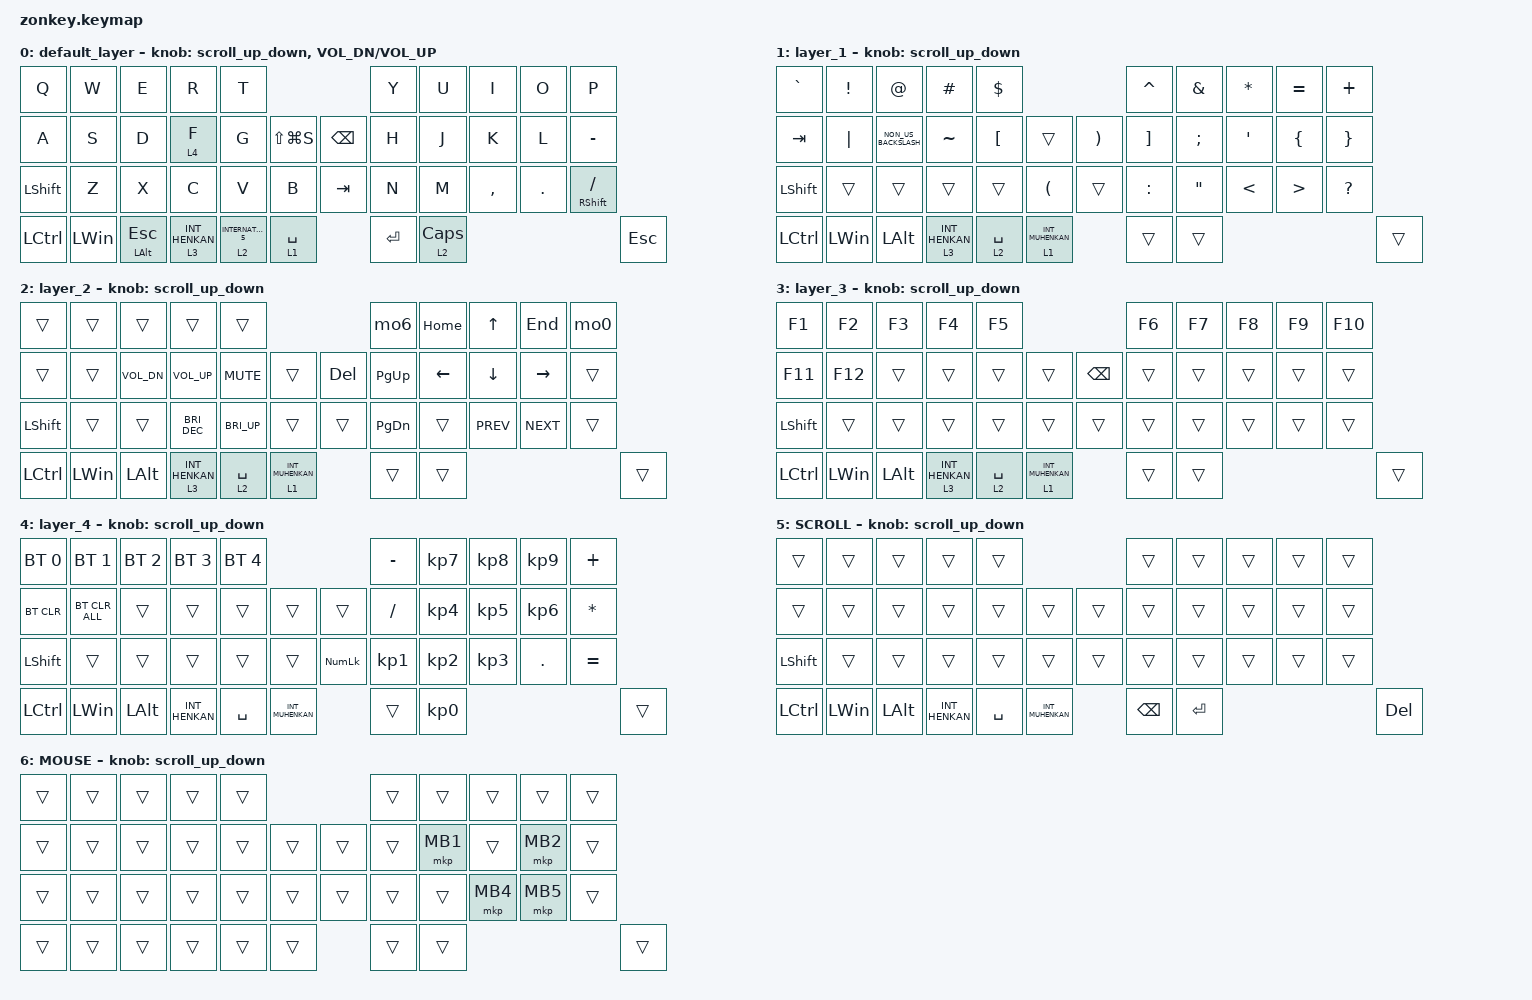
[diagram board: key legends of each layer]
#include <behaviors.dtsi>
#include <dt-bindings/zmk/bt.h>
#include <dt-bindings/zmk/keys.h>
#include <dt-bindings/zmk/pointing.h>

#define ZMK_POINTING_DEFAULT_SCRL_VAL 100
#define MOUSE 6
#define JP_DQUOTE       AT                // "
#define JP_AMPERSAND    CARET             // &
#define JP_QUOTE        AMPERSAND         // '
#define JP_EQUAL        UNDER             // =
#define JP_CARET        EQUAL             // ^
#define JP_YEN          0x89              // ¥
#define JP_PLUS         COLON             // +
#define JP_TILDE        PLUS              // ~
#define JP_PIPE         LS(0x89)          // |
#define JP_AT           LEFT_BRACKET      // @
#define JP_COLON        SINGLE_QUOTE      // :
#define JP_ASTERISK     DOUBLE_QUOTES     // *
#define JP_BACKQUOTE    LEFT_BRACE        // `
#define JP_UNDERSCORE   LS(0x87)          // _
#define JP_LBRACKET     RIGHT_BRACKET     // [
#define JP_RBRACKET     BACKSLASH         // ]
#define JP_LPAREN       ASTERISK          // (
#define JP_RPAREN       LEFT_PARENTHESIS  // )
#define JP_LBRACE       RIGHT_BRACE       // {
#define JP_RBRACE       PIPE              // }
#define JP_KANA         LANGUAGE_1        // かな
#define JP_EISU         LANGUAGE_2        // 英数
#define JP_HANZEN       GRAVE             // 半角/全角
#define JP_BSLH  INT1         // (backslash)

&mt {
    flavor = "balanced";
    quick-tap-ms = <0>;
};

/ {
    combos {
        compatible = "zmk,combos";

        ps_ort {
            bindings = <&ps_ort>;
            key-positions = <19 20>;
        };

        ps_No {
            bindings = <&ps_No>;
            key-positions = <31 32>;
        };

        gmail {
            bindings = <&gmai>;
            key-positions = <30 29>;
        };
    };

    mo2: mo2 {
        compatible = "zmk,behavior-mod-morph";
        #binding-cells = <0>;
        bindings = <&kp N2>, <&kp AT>;

        mods = <(MOD_LSFT|MOD_RSFT)>;
    };

    mo6: mo6 {
        compatible = "zmk,behavior-mod-morph";
        #binding-cells = <0>;
        bindings = <&kp N6>, <&kp CARET>;

        mods = <(MOD_LSFT|MOD_RSFT)>;
    };

    mo7: mo7 {
        compatible = "zmk,behavior-mod-morph";
        #binding-cells = <0>;
        bindings = <&kp N7>, <&kp AMPS>;

        mods = <(MOD_LSFT|MOD_RSFT)>;
    };

    mo8: mo8 {
        compatible = "zmk,behavior-mod-morph";
        #binding-cells = <0>;
        bindings = <&kp N8>, <&kp ASTRK>;

        mods = <(MOD_LSFT|MOD_RSFT)>;
    };

    mo9: mo9 {
        compatible = "zmk,behavior-mod-morph";
        #binding-cells = <0>;
        bindings = <&kp N9>, <&kp LPAR>;

        mods = <(MOD_LSFT|MOD_RSFT)>;
    };

    mo0: mo0 {
        compatible = "zmk,behavior-mod-morph";
        #binding-cells = <0>;
        bindings = <&kp N0>, <&kp LS(N9)>;

        mods = <(MOD_LSFT|MOD_RSFT)>;
    };

    moA: moA {
        compatible = "zmk,behavior-mod-morph";
        #binding-cells = <0>;
        bindings = <&kp MINUS>, <&kp UNDERSCORE>;

        mods = <(MOD_LSFT|MOD_RSFT)>;
    };

    moB: moB {
        compatible = "zmk,behavior-mod-morph";
        #binding-cells = <0>;
        bindings = <&kp EQUAL>, <&kp PLUS>;

        mods = <(MOD_LSFT|MOD_RSFT)>;
    };

    moC: moC {
        compatible = "zmk,behavior-mod-morph";
        #binding-cells = <0>;
        bindings = <&kp INT3>, <&kp JP_PIPE>;

        mods = <(MOD_LSFT|MOD_RSFT)>;
    };

    moD: moD {
        compatible = "zmk,behavior-mod-morph";
        #binding-cells = <0>;
        bindings = <&kp LBKT>, <&kp LBRC>;

        mods = <(MOD_LSFT|MOD_RSFT)>;
    };

    moE: moE {
        compatible = "zmk,behavior-mod-morph";
        #binding-cells = <0>;
        bindings = <&kp RBKT>, <&kp RBRC>;

        mods = <(MOD_LSFT|MOD_RSFT)>;
    };

    moF: moF {
        compatible = "zmk,behavior-mod-morph";
        #binding-cells = <0>;
        bindings = <&kp SEMI>, <&kp KP_PLUS>;

        mods = <(MOD_LSFT|MOD_RSFT)>;
    };

    moG: moG {
        compatible = "zmk,behavior-mod-morph";
        #binding-cells = <0>;
        bindings = <&kp APOSTROPHE>, <&kp DQT>;

        mods = <(MOD_LSFT|MOD_RSFT)>;
    };

    moH: moH {
        compatible = "zmk,behavior-mod-morph";
        #binding-cells = <0>;
        bindings = <&kp BACKSLASH>, <&kp TILDE2>;

        mods = <(MOD_LSFT|MOD_RSFT)>;
    };

    moI: moI {
        compatible = "zmk,behavior-mod-morph";
        #binding-cells = <0>;
        bindings = <&kp JP_BSLH>, <&kp JP_UNDERSCORE>;

        mods = <(MOD_LSFT|MOD_RSFT)>;
    };

    macros {
        to_layer_0: to_layer_0 {
            compatible = "zmk,behavior-macro-one-param";
            #binding-cells = <1>;
            bindings = <&to 0 &macro_param_1to1 &kp MACRO_PLACEHOLDER>;
            label = "TO_LAYER_0";
        };

        ps_ort: ps_ort {
            compatible = "zmk,behavior-macro";
            #binding-cells = <0>;
            bindings = <&kp LS(O) &kp R &kp T &kp L &kp I &kp N &kp D &kp E &kp N1>;
            label = "PS_ORT";
        };

        gmai: gmai {
            compatible = "zmk,behavior-macro";
            #binding-cells = <0>;
            bindings = <&kp H &kp I &kp K &kp A &kp R &kp U &kp PERIOD &kp H &kp A &kp R &kp I &kp AT &kp G &kp M &kp A &kp I &kp L &kp PERIOD &kp C &kp O &kp M>;
            label = "GMAI";
        };

        ps_No: ps_No {
            compatible = "zmk,behavior-macro";
            #binding-cells = <0>;
            bindings = <&kp NUMBER_2 &kp NUMBER_4 &kp N8 &kp NUMBER_6 &kp N5 &kp NUMBER_2>;
            label = "PS_NO";
        };
    };

    behaviors {
        lt_to_layer_0: lt_to_layer_0 {
            compatible = "zmk,behavior-hold-tap";
            label = "LAYER_TAP_TO_0";
            bindings = <&mo>, <&to_layer_0>;

            #binding-cells = <2>;
            tapping-term-ms = <200>;
        };

        scroll_up_down: behavior_sensor_rotate_mouse_wheel_up_down {
            compatible = "zmk,behavior-sensor-rotate";
            #sensor-binding-cells = <0>;
            bindings = <&msc SCRL_DOWN>, <&msc SCRL_UP>;

            tap-ms = <20>;
        };
    };

    keymap {
        compatible = "zmk,keymap";

        default_layer {
            // -----------------------------------------------------------------------------------------
            // |  Q  |  W  |  E  |  R  |  T  |                        |  Y  |  U   |  I  |  O  |  P  | 
            // |  A  |  S  |  D  |  F  |  G  |LS(LG(S))|        　 | - |  H  |  J   |  K  |  L  |  `  | 
            // |SHIFT|  Z  |  X  |  C  |  V  |  B  |           | ; |  N  |  M   |  ,  |  .  |  /  | 
            // | CTRL | WIN | ALT |HENKAN|SPACE|MUHENKAN|       | BS | ENT |      　　　　       | DEL |           

            bindings = <
&kp Q           &kp W         &kp E                &kp R             &kp T                                                  &kp Y      &kp U       &kp I      &kp O    &kp P
&kp A           &kp S         &kp D                &lt 4 F           &kp G                  &kp LS(LG(S))    &kp BACKSPACE  &kp H      &kp J       &kp K      &kp L    &kp MINUS
&kp LEFT_SHIFT  &kp Z         &kp X                &kp C             &kp V                  &kp B            &kp TAB        &kp N      &kp M       &kp COMMA  &kp DOT  &mt RIGHT_SHIFT SLASH
&kp LCTRL       &kp LEFT_WIN  &mt LEFT_ALT ESCAPE  &lt 3 INT_HENKAN  &lt 2 INTERNATIONAL_5  &lt 1 SPACE                     &kp ENTER  &lt 2 CAPS                                             &kp ESCAPE
            >;

            sensor-bindings =
                <&scroll_up_down>,
                <&inc_dec_kp C_VOL_DN C_VOL_UP>;
        };

        layer_1 {
            // -----------------------------------------------------------------------------------------
            // | 半角/全角 |CAPS|     |     |     |                     |     |     |  -  |  ^  |  ¥  |
            // | TAB |     |     |     |     |     |              |    |     |     |     |  @  |  [  |
            // |SHIFT|     |     |     |     |     |            | 英数 | かな |     |     |     |  ]  |
            // | CTRL| WIN | ALT |HENKAN|SPACE|MUHENKAN|         | BS | ENT |                   | DEL |

            bindings = <
&kp GRAVE       &kp EXCLAMATION  &kp AT_SIGN           &kp HASH          &kp DOLLAR                                                       &kp CARET          &kp AMPERSAND      &kp ASTERISK   &kp EQUAL         &kp PLUS
&kp TAB         &kp PIPE         &kp NON_US_BACKSLASH  &kp TILDE         &kp LEFT_BRACKET  &trans                  &kp RIGHT_PARENTHESIS  &kp RIGHT_BRACKET  &kp SEMICOLON      &kp SQT        &kp LEFT_BRACE    &kp RIGHT_BRACE
&kp LEFT_SHIFT  &trans           &trans                &trans            &trans            &kp LEFT_PARENTHESIS    &trans                 &kp COLON          &kp DOUBLE_QUOTES  &kp LESS_THAN  &kp GREATER_THAN  &kp QUESTION
&kp LCTRL       &kp LEFT_WIN     &kp LEFT_ALT          &lt 3 INT_HENKAN  &lt 2 SPACE       &lt 1 INT_MUHENKAN                             &trans             &trans                                                               &trans
            >;

            sensor-bindings = <&scroll_up_down>;
        };

        layer_2 {
            // -----------------------------------------------------------------------------------------
            // |  1  |  2  |  3  |  4  |  5  |                     |  6  |  7  |  8  |  9  |   0  |
            // |      |     |     |     |     |     |           |    |     |     |     |  ↑  |      |
            // |SHIFT|     |     |     |     |     |           |     |     |     |  ←  |  ↓  |  →  |
            // | CTRL| WIN | ALT |HENKAN|SPACE|MUHENKAN|         | BS | ENT |                   | DEL |

            bindings = <
&trans          &trans        &trans        &trans                &trans                                       &mo6           &kp HOME  &kp UP      &kp END     &mo0
&trans          &trans        &kp C_VOL_DN  &kp C_VOLUME_UP       &kp K_MUTE    &trans                &kp DEL  &kp PAGE_UP    &kp LEFT  &kp DOWN    &kp RIGHT   &trans
&kp LEFT_SHIFT  &trans        &trans        &kp C_BRIGHTNESS_DEC  &kp C_BRI_UP  &trans                &trans   &kp PAGE_DOWN  &trans    &kp K_PREV  &kp K_NEXT  &trans
&kp LCTRL       &kp LEFT_WIN  &kp LEFT_ALT  &lt 3 INT_HENKAN      &lt 2 SPACE   &lt 1 INT_MUHENKAN             &trans         &trans                                    &trans
            >;

            sensor-bindings = <&scroll_up_down>;
        };

        layer_3 {
            // -----------------------------------------------------------------------------------------
            // | F1  | F2  | F3  | F4  | F5  |                     | F6  | F7 | F8  | F9 | F10 |
            // | F11 | F12 |     |     |     |     |           |    |     |     |     |     |      |
            // |SHIFT|     |     |     |     |     |           |     |     |     |     |     |      |
            // | CTRL| WIN | ALT |HENKAN|SPACE|MUHENKAN|         | BS | ENT |                   | DEL |

            bindings = <
&kp F1          &kp F2        &kp F3        &kp F4            &kp F5                                            &kp F6  &kp F7  &kp F8  &kp F9  &kp F10
&kp F11         &kp F12       &trans        &trans            &trans       &trans                &kp BACKSPACE  &trans  &trans  &trans  &trans  &trans
&kp LEFT_SHIFT  &trans        &trans        &trans            &trans       &trans                &trans         &trans  &trans  &trans  &trans  &trans
&kp LCTRL       &kp LEFT_WIN  &kp LEFT_ALT  &lt 3 INT_HENKAN  &lt 2 SPACE  &lt 1 INT_MUHENKAN                   &trans  &trans                           &trans
            >;

            sensor-bindings = <&scroll_up_down>;
        };

        layer_4 {
            // -----------------------------------------------------------------------------------------
            // | BT0 | BT1 | BT2 | BT3 | BT4 |                |  -  |  7  |  8  |  9  |  +  |
            // |BTCLR |     |     |     |     |     |           |  /  |  4  |  5  |  6  |  *  | 
            // |SHIFT|     |     |     |     |     |           |  0  |  1  |  2  |   3 |  .  |  =  |
            // | CTRL| WIN | ALT |HENKAN|SPACE|MUHENKAN|        | BS | ENT |                  | DEL |

            bindings = <
&bt BT_SEL 0    &bt BT_SEL 1    &bt BT_SEL 2  &bt BT_SEL 3    &bt BT_SEL 4                                      &kp MINUS        &kp KP_NUMBER_7  &kp KP_NUMBER_8  &kp KP_NUMBER_9  &kp PLUS
&bt BT_CLR      &bt BT_CLR_ALL  &trans        &trans          &trans        &trans              &trans          &kp SLASH        &kp KP_NUMBER_4  &kp KP_NUMBER_5  &kp KP_NUMBER_6  &kp ASTERISK
&kp LEFT_SHIFT  &trans          &trans        &trans          &trans        &trans              &kp KP_NUMLOCK  &kp KP_NUMBER_1  &kp KP_NUMBER_2  &kp KP_NUMBER_3  &kp PERIOD       &kp EQUAL
&kp LCTRL       &kp LEFT_WIN    &kp LEFT_ALT  &kp INT_HENKAN  &kp SPACE     &kp INT_MUHENKAN                    &trans           &kp KP_NUMBER_0                                                  &trans
            >;

            sensor-bindings = <&scroll_up_down>;
        };

        SCROLL {
            // -----------------------------------------------------------------------------------------
            // |      |     |     |     |     |                     |     |     |     |     |      |
            // |      |     |     |     |     |     |           |    |     |     |     |     |      |
            // |SHIFT|     |     |     |     |     |          |     |     |     |     |     |      |
            // | CTRL| WIN | ALT |HENKAN|SPACE|MUHENKAN|        | BS | ENT |                  | DEL |

            bindings = <
&trans          &trans        &trans        &trans          &trans                                 &trans         &trans     &trans  &trans  &trans
&trans          &trans        &trans        &trans          &trans     &trans              &trans  &trans         &trans     &trans  &trans  &trans
&kp LEFT_SHIFT  &trans        &trans        &trans          &trans     &trans              &trans  &trans         &trans     &trans  &trans  &trans
&kp LCTRL       &kp LEFT_WIN  &kp LEFT_ALT  &kp INT_HENKAN  &kp SPACE  &kp INT_MUHENKAN            &kp BACKSPACE  &kp ENTER                          &kp DEL
            >;

            sensor-bindings = <&scroll_up_down>;
        };

        MOUSE {
            bindings = <
&trans  &trans  &trans  &trans  &trans                    &trans  &trans    &trans    &trans    &trans
&trans  &trans  &trans  &trans  &trans  &trans    &trans  &trans  &mkp MB1  &trans    &mkp MB2  &trans
&trans  &trans  &trans  &trans  &trans  &trans    &trans  &trans  &trans    &mkp MB4  &mkp MB5  &trans
&trans  &trans  &trans  &trans  &trans  &trans            &trans  &trans                                &trans
            >;

            sensor-bindings = <&scroll_up_down>;
        };
    };
};
